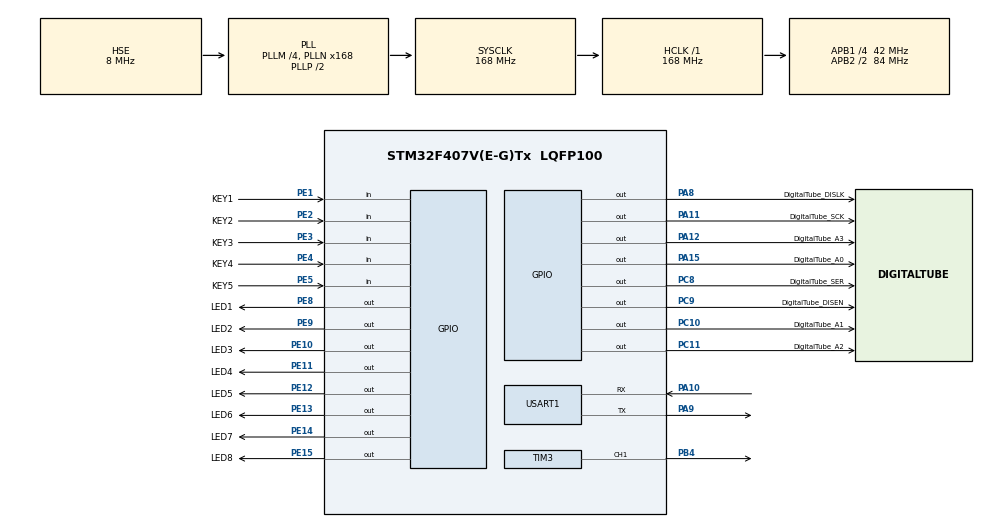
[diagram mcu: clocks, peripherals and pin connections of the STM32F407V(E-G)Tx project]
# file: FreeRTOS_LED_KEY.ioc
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FREERTOS.Tasks01=ledTask,24,256,StartLedTask,Default,NULL,Dynamic,NULL,NULL;keyTask,24,256,StartKeyTask,Default,NULL,Dynamic,NULL,NULL;beepTask,24,256,StartBeepTask,Default,NULL,Dynamic,NULL,NULL;digitaTubeTask,24,256,StartDigitaTubeTask,Default,NULL,Dynamic,NULL,NULL;temporaryTask,24,256,StartTemporaryTask,Default,NULL,Dynamic,NULL,NULL
FREERTOS.configENABLE_FPU=0
Mcu.Family=STM32F4
Mcu.Name=STM32F407V(E-G)Tx
Mcu.Package=LQFP100
NVIC.PriorityGroup=NVIC_PRIORITYGROUP_4
NVIC.TIM8_TRG_COM_TIM14_IRQn=true\:0\:0\:false\:false\:true\:false\:false\:true
NVIC.TimeBase=TIM8_TRG_COM_TIM14_IRQn
NVIC.TimeBaseIP=TIM14
PA10.Mode=Asynchronous
PA10.Signal=USART1_RX
PA11.GPIO_Label=DigitalTube_SCK
PA11.Signal=GPIO_Output
PA12.GPIO_Label=DigitalTube_A3
PA12.Signal=GPIO_Output
PA13.Mode=Serial_Wire
PA13.Signal=SYS_JTMS-SWDIO
PA14.Mode=Serial_Wire
PA14.Signal=SYS_JTCK-SWCLK
PA15.GPIO_Label=DigitalTube_A0
PA15.Signal=GPIO_Output
PA8.GPIO_Label=DigitalTube_DISLK
PA8.Signal=GPIO_Output
PA9.Mode=Asynchronous
PA9.Signal=USART1_TX
PB4.Signal=S_TIM3_CH1
PC10.GPIO_Label=DigitalTube_A1
PC10.Signal=GPIO_Output
PC11.GPIO_Label=DigitalTube_A2
PC11.Signal=GPIO_Output
PC8.GPIO_Label=DigitalTube_SER
PC8.Signal=GPIO_Output
PC9.GPIO_Label=DigitalTube_DISEN
PC9.Signal=GPIO_Output
PE1.GPIO_Label=KEY1
PE1.GPIO_PuPd=GPIO_PULLUP
PE1.Signal=GPIO_Input
PE10.GPIO_Label=LED3
PE10.PinState=GPIO_PIN_SET
PE10.Signal=GPIO_Output
PE11.GPIO_Label=LED4
PE11.PinState=GPIO_PIN_SET
PE11.Signal=GPIO_Output
PE12.GPIO_Label=LED5
PE12.PinState=GPIO_PIN_SET
PE12.Signal=GPIO_Output
PE13.GPIO_Label=LED6
PE13.PinState=GPIO_PIN_SET
PE13.Signal=GPIO_Output
PE14.GPIO_Label=LED7
PE14.PinState=GPIO_PIN_SET
PE14.Signal=GPIO_Output
PE15.GPIO_Label=LED8
PE15.PinState=GPIO_PIN_SET
PE15.Signal=GPIO_Output
PE2.GPIO_Label=KEY2
PE2.GPIO_PuPd=GPIO_PULLUP
PE2.Signal=GPIO_Input
PE3.GPIO_Label=KEY3
PE3.GPIO_PuPd=GPIO_PULLUP
PE3.Signal=GPIO_Input
PE4.GPIO_Label=KEY4
PE4.GPIO_PuPd=GPIO_PULLUP
PE4.Signal=GPIO_Input
PE5.GPIO_Label=KEY5
PE5.GPIO_PuPd=GPIO_PULLDOWN
PE5.Signal=GPIO_Input
PE8.GPIO_Label=LED1
PE8.PinState=GPIO_PIN_SET
PE8.Signal=GPIO_Output
PE9.GPIO_Label=LED2
PE9.PinState=GPIO_PIN_SET
PE9.Signal=GPIO_Output
PH0-OSC_IN.Mode=HSE-External-Oscillator
PH0-OSC_IN.Signal=RCC_OSC_IN
PH1-OSC_OUT.Mode=HSE-External-Oscillator
PH1-OSC_OUT.Signal=RCC_OSC_OUT
ProjectManager.HeapSize=0x200
ProjectManager.StackSize=0x400
ProjectManager.TargetToolchain=SW4STM32
RCC.48MHZClocksFreq_Value=84000000
RCC.AHBFreq_Value=168000000
RCC.APB1CLKDivider=RCC_HCLK_DIV4
RCC.APB1Freq_Value=42000000
RCC.APB1TimFreq_Value=84000000
RCC.APB2CLKDivider=RCC_HCLK_DIV2
RCC.APB2Freq_Value=84000000
RCC.APB2TimFreq_Value=168000000
RCC.CortexFreq_Value=168000000
RCC.HCLKFreq_Value=168000000
RCC.HSE_VALUE=8000000
RCC.HSI_VALUE=16000000
RCC.LSE_VALUE=32768
RCC.PLLM=4
RCC.PLLN=168
RCC.PLLSourceVirtual=RCC_PLLSOURCE_HSE
RCC.SYSCLKFreq_VALUE=168000000
RCC.SYSCLKSource=RCC_SYSCLKSOURCE_PLLCLK
RCC.VCOOutputFreq_Value=336000000
SH.S_TIM3_CH1.0=TIM3_CH1,PWM Generation1 CH1
TIM3.AutoReloadPreload=TIM_AUTORELOAD_PRELOAD_ENABLE
TIM3.Channel-PWM\ Generation1\ CH1=TIM_CHANNEL_1
TIM3.OCPolarity_1=TIM_OCPOLARITY_LOW
TIM3.Period=299
TIM3.Prescaler=83
TIM3.Pulse-PWM\ Generation1\ CH1=200
USART1.VirtualMode=VM_ASYNC
VP_FREERTOS_VS_CMSIS_V2.Mode=CMSIS_V2
VP_SYS_VS_tim14.Mode=TIM14
board=custom

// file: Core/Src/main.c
/* USER CODE BEGIN Header */
/**
  ******************************************************************************
  * @file           : main.c
  * @brief          : Main program body
  ******************************************************************************
  * @attention
  *
  * <h2><center>&copy; Copyright (c) 2020 STMicroelectronics.
  * All rights reserved.</center></h2>
  *
  * This software component is licensed by ST under BSD 3-Clause license,
  * the "License"; You may not use this file except in compliance with the
  * License. You may obtain a copy of the License at:
  *                        opensource.org/licenses/BSD-3-Clause
  *
  ******************************************************************************
  */
/* USER CODE END Header */
#include "main.h"
#include "cmsis_os.h"
#include "tim.h"
#include "usart.h"
#include "gpio.h"

/* USER CODE BEGIN Includes */
#include <retarget.h>
#include "DigitalTube.h"
/* USER CODE END Includes */

void SystemClock_Config(void);
void MX_FREERTOS_Init(void);

int main(void)
{

  /* MCU Configuration--------------------------------------------------------*/

  /* Reset of all peripherals, Initializes the Flash interface and the Systick. */
  HAL_Init();

  /* Configure the system clock */
  SystemClock_Config();

  /* Initialize all configured peripherals */
  MX_GPIO_Init();
  MX_USART1_UART_Init();
  MX_TIM3_Init();
  /* USER CODE BEGIN 2 */
    RetargetInit(&huart1);
    Write595(0,0,0);
  /* USER CODE END 2 */

  /* Init scheduler */
  osKernelInitialize();  /* Call init function for freertos objects (in freertos.c) */
  MX_FREERTOS_Init();
  /* Start scheduler */
  osKernelStart();

  /* We should never get here as control is now taken by the scheduler */
  /* Infinite loop */
  while (1)
  {

  }
}

void SystemClock_Config(void)
{
  RCC_OscInitTypeDef RCC_OscInitStruct = {0};
  RCC_ClkInitTypeDef RCC_ClkInitStruct = {0};

  /** Configure the main internal regulator output voltage
  */
  __HAL_RCC_PWR_CLK_ENABLE();
  __HAL_PWR_VOLTAGESCALING_CONFIG(PWR_REGULATOR_VOLTAGE_SCALE1);
  /** Initializes the RCC Oscillators according to the specified parameters
  * in the RCC_OscInitTypeDef structure.
  */
  RCC_OscInitStruct.OscillatorType = RCC_OSCILLATORTYPE_HSE;
  RCC_OscInitStruct.HSEState = RCC_HSE_ON;
  RCC_OscInitStruct.PLL.PLLState = RCC_PLL_ON;
  RCC_OscInitStruct.PLL.PLLSource = RCC_PLLSOURCE_HSE;
  RCC_OscInitStruct.PLL.PLLM = 4;
  RCC_OscInitStruct.PLL.PLLN = 168;
  RCC_OscInitStruct.PLL.PLLP = RCC_PLLP_DIV2;
  RCC_OscInitStruct.PLL.PLLQ = 4;
  if (HAL_RCC_OscConfig(&RCC_OscInitStruct) != HAL_OK)
  {
    Error_Handler();
  }
  /** Initializes the CPU, AHB and APB buses clocks
  */
  RCC_ClkInitStruct.ClockType = RCC_CLOCKTYPE_HCLK|RCC_CLOCKTYPE_SYSCLK
                              |RCC_CLOCKTYPE_PCLK1|RCC_CLOCKTYPE_PCLK2;
  RCC_ClkInitStruct.SYSCLKSource = RCC_SYSCLKSOURCE_PLLCLK;
  RCC_ClkInitStruct.AHBCLKDivider = RCC_SYSCLK_DIV1;
  RCC_ClkInitStruct.APB1CLKDivider = RCC_HCLK_DIV4;
  RCC_ClkInitStruct.APB2CLKDivider = RCC_HCLK_DIV2;

  if (HAL_RCC_ClockConfig(&RCC_ClkInitStruct, FLASH_LATENCY_5) != HAL_OK)
  {
    Error_Handler();
  }
}

void HAL_TIM_PeriodElapsedCallback(TIM_HandleTypeDef *htim)
{
  if (htim->Instance == TIM14) {
    HAL_IncTick();
  }
}

void Error_Handler(void)
{
}

/************************ (C) COPYRIGHT STMicroelectronics *****END OF FILE****/

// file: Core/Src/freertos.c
/* USER CODE BEGIN Header */
/**
  ******************************************************************************
  * File Name          : freertos.c
  * Description        : Code for freertos applications
  ******************************************************************************
  * @attention
  *
  * <h2><center>&copy; Copyright (c) 2020 STMicroelectronics.
  * All rights reserved.</center></h2>
  *
  * This software component is licensed by ST under Ultimate Liberty license
  * SLA0044, the "License"; You may not use this file except in compliance with
  * the License. You may obtain a copy of the License at:
  *                             www.st.com/SLA0044
  *
  ******************************************************************************
  */
/* USER CODE END Header */

#include "FreeRTOS.h"
#include "task.h"
#include "main.h"
#include "cmsis_os.h"

/* USER CODE BEGIN Includes */
#include <stdio.h>
#include <stdbool.h>
#include "tim.h"
#include "LED.h"
#include "DigitalTube.h"
/* USER CODE END Includes */

/* USER CODE BEGIN Variables */
uint8_t led_id = 1;
bool led_switch = false;
uint32_t led_control_time = 200;
uint8_t key_state = 0;
uint8_t key_buf = 0;
bool beep_switch = false;
/* USER CODE END Variables */
/* Definitions for ledTask */
osThreadId_t ledTaskHandle;
const osThreadAttr_t ledTask_attributes = {
  .name = "ledTask",
  .priority = (osPriority_t) osPriorityNormal,
  .stack_size = 256 * 4
};
/* Definitions for keyTask */
osThreadId_t keyTaskHandle;
const osThreadAttr_t keyTask_attributes = {
  .name = "keyTask",
  .priority = (osPriority_t) osPriorityNormal,
  .stack_size = 256 * 4
};
/* Definitions for beepTask */
osThreadId_t beepTaskHandle;
const osThreadAttr_t beepTask_attributes = {
  .name = "beepTask",
  .priority = (osPriority_t) osPriorityNormal,
  .stack_size = 256 * 4
};
/* Definitions for digitaTubeTask */
osThreadId_t digitaTubeTaskHandle;
const osThreadAttr_t digitaTubeTask_attributes = {
  .name = "digitaTubeTask",
  .priority = (osPriority_t) osPriorityNormal,
  .stack_size = 256 * 4
};
/* Definitions for temporaryTask */
osThreadId_t temporaryTaskHandle;
const osThreadAttr_t temporaryTask_attributes = {
  .name = "temporaryTask",
  .priority = (osPriority_t) osPriorityNormal,
  .stack_size = 256 * 4
};

void StartLedTask(void *argument);
void StartKeyTask(void *argument);
void StartBeepTask(void *argument);
void StartDigitaTubeTask(void *argument);
void StartTemporaryTask(void *argument);

void MX_FREERTOS_Init(void); /* (MISRA C 2004 rule 8.1) */

void MX_FREERTOS_Init(void) {

  /* Create the thread(s) */
  /* creation of ledTask */
  ledTaskHandle = osThreadNew(StartLedTask, NULL, &ledTask_attributes);

  /* creation of keyTask */
  keyTaskHandle = osThreadNew(StartKeyTask, NULL, &keyTask_attributes);

  /* creation of beepTask */
  beepTaskHandle = osThreadNew(StartBeepTask, NULL, &beepTask_attributes);

  /* creation of digitaTubeTask */
  digitaTubeTaskHandle = osThreadNew(StartDigitaTubeTask, NULL, &digitaTubeTask_attributes);

  /* creation of temporaryTask */
  temporaryTaskHandle = osThreadNew(StartTemporaryTask, NULL, &temporaryTask_attributes);

  /* USER CODE BEGIN RTOS_THREADS */
  /* add threads, ... */
    osThreadSuspend(temporaryTaskHandle);//挂起临时任务
    osThreadTerminate(temporaryTaskHandle);//删除临时任务
  /* USER CODE END RTOS_THREADS */

}

void StartLedTask(void *argument)
{
  /* USER CODE BEGIN StartLedTask */
  /* Infinite loop */
  for(;;)
  {
      if (led_switch){
          turnoffLED();
          selectLED(led_id);
          if(led_id==8){
              led_id = 1;
          }
          else{
              led_id++;
          }
          osDelay(led_control_time);
      }
      else {
          osDelay(1);
      }
  }
  /* USER CODE END StartLedTask */
}

void StartKeyTask(void *argument)
{
  /* USER CODE BEGIN StartKeyTask */
  /* Infinite loop */
  for(;;)
  {
      //扫描按键
      key_state = 0;
      if (HAL_GPIO_ReadPin(KEY1_GPIO_Port,KEY1_Pin)==GPIO_PIN_RESET){
          osDelay(10);
          if(HAL_GPIO_ReadPin(KEY1_GPIO_Port,KEY1_Pin)==GPIO_PIN_RESET)
          {
              key_state = 1;
          }
          while(HAL_GPIO_ReadPin(KEY1_GPIO_Port,KEY1_Pin)==GPIO_PIN_RESET)
          {
              osDelay(1);
          }
      }
      else if (HAL_GPIO_ReadPin(KEY2_GPIO_Port,KEY2_Pin)==GPIO_PIN_RESET){
          osDelay(10);
          if(HAL_GPIO_ReadPin(KEY2_GPIO_Port,KEY2_Pin)==GPIO_PIN_RESET)
          {
              key_state = 2;
          }
          while(HAL_GPIO_ReadPin(KEY2_GPIO_Port,KEY2_Pin)==GPIO_PIN_RESET)
          {
              osDelay(1);
          }
      }
      else if (HAL_GPIO_ReadPin(KEY3_GPIO_Port,KEY3_Pin)==GPIO_PIN_RESET){
          osDelay(10);
          if(HAL_GPIO_ReadPin(KEY3_GPIO_Port,KEY3_Pin)==GPIO_PIN_RESET)
          {
              key_state = 3;
          }
          while(HAL_GPIO_ReadPin(KEY3_GPIO_Port,KEY3_Pin)==GPIO_PIN_RESET)
          {
              osDelay(1);
          }
      }
      else if (HAL_GPIO_ReadPin(KEY4_GPIO_Port,KEY4_Pin)==GPIO_PIN_RESET){
          osDelay(10);
          if(HAL_GPIO_ReadPin(KEY4_GPIO_Port,KEY4_Pin)==GPIO_PIN_RESET)
          {
              key_state = 4;
          }
          while(HAL_GPIO_ReadPin(KEY4_GPIO_Port,KEY4_Pin)==GPIO_PIN_RESET)
          {
              osDelay(1);
          }
      }
      else if (HAL_GPIO_ReadPin(KEY5_GPIO_Port,KEY5_Pin)==GPIO_PIN_SET){
          osDelay(10);
          if(HAL_GPIO_ReadPin(KEY5_GPIO_Port,KEY5_Pin)==GPIO_PIN_SET)
          {
              key_state = 5;
          }
          while(HAL_GPIO_ReadPin(KEY5_GPIO_Port,KEY5_Pin)==GPIO_PIN_SET)
          {
              osDelay(1);
          }
      }
      //按键触发控制
      switch (key_state) {
          case 1://启动流水灯
              led_switch=true;
              __HAL_TIM_SET_AUTORELOAD(&htim3,299);
              key_buf = 1;
              break;

          case 2://减速流水灯
              if(led_control_time<400)led_control_time+=10;
              else led_control_time = 400;
              __HAL_TIM_SET_AUTORELOAD(&htim3,399);
              key_buf = 2;
              break;

          case 3://加速流水灯
              if(led_control_time>10) led_control_time-=10;
              else led_control_time = 10;
              __HAL_TIM_SET_AUTORELOAD(&htim3,499);
              key_buf = 3;
              break;

          case 4://暂停流水灯
              led_switch=false;
              __HAL_TIM_SET_AUTORELOAD(&htim3,599);
              key_buf = 4;
              break;

          case 5:
              osThreadSuspend(digitaTubeTaskHandle);//挂起数码管显示任务
              temporaryTaskHandle = osThreadNew(StartTemporaryTask, NULL, &temporaryTask_attributes);//新建临时任务
              break;

          default:
              break;
      }

      if(key_state) {
          beep_switch = true;
          printf("led_switch = %d,led_control_time = %d\r\n",led_switch,(int)led_control_time);
      }
      osDelay(1);
  }
  /* USER CODE END StartKeyTask */
}

void StartBeepTask(void *argument)
{
  /* USER CODE BEGIN StartBeepTask */
  /* Infinite loop */
  for(;;)
  {
      if (beep_switch) {
          HAL_TIM_PWM_Start(&htim3, TIM_CHANNEL_1);//使能输出
          osDelay(100);
          HAL_TIM_PWM_Stop(&htim3, TIM_CHANNEL_1);//使能输出
          beep_switch = false;
      }
      else {
          osDelay(1);
      }
  }
  /* USER CODE END StartBeepTask */
}

void StartDigitaTubeTask(void *argument)
{
  /* USER CODE BEGIN StartDigitaTubeTask */
  /* Infinite loop */
  for(;;)
  {
      Write595(0,key_buf,0);
      osDelay(1);
  }
  /* USER CODE END StartDigitaTubeTask */
}

void StartTemporaryTask(void *argument)
{
  /* USER CODE BEGIN StartTemporaryTask */
  /* Infinite loop */
  for(;;)
  {
      Write595(0,8,0);
      osDelay(300);
      Write595(1,8,0);
      osDelay(300);
      Write595(2,8,0);
      osDelay(300);
      Write595(3,8,0);
      osDelay(300);
      osThreadResume(digitaTubeTaskHandle);//开启数码管显示任务
      osThreadTerminate(temporaryTaskHandle);//删除临时任务
  }
  /* USER CODE END StartTemporaryTask */
}

/************************ (C) COPYRIGHT STMicroelectronics *****END OF FILE****/
